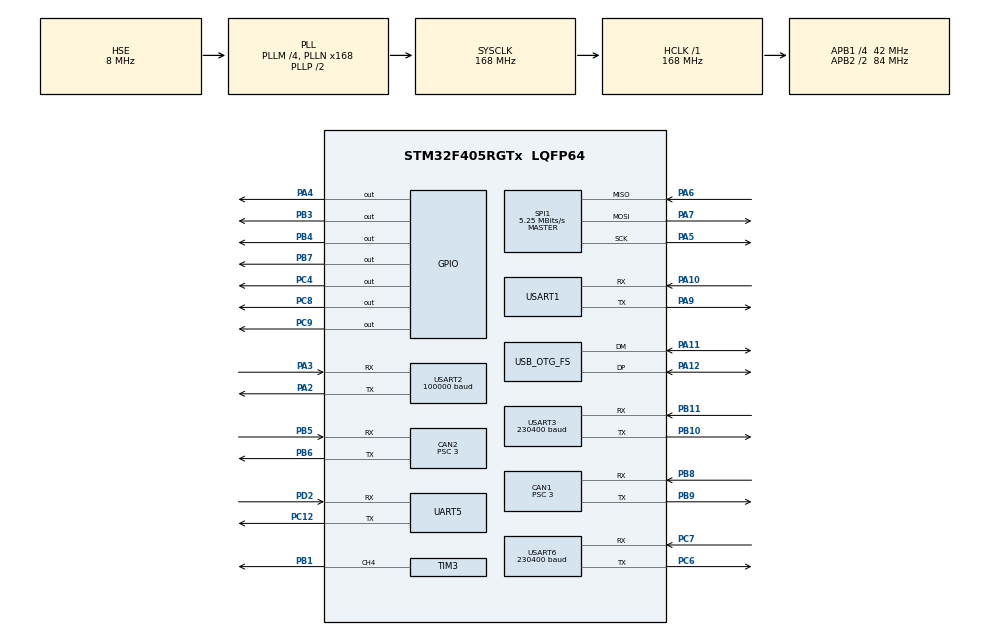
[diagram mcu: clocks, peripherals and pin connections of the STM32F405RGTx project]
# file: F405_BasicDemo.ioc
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CAN1.AWUM=ENABLE
CAN1.BS1=CAN_BS1_9TQ
CAN1.BS2=CAN_BS2_4TQ
CAN1.CalculateBaudRate=1000000
CAN1.CalculateTimeBit=1000
CAN1.CalculateTimeQuantum=71.42857142857143
CAN1.NART=ENABLE
CAN1.Prescaler=3
CAN1.TXFP=ENABLE
CAN2.AWUM=ENABLE
CAN2.BS1=CAN_BS1_9TQ
CAN2.BS2=CAN_BS2_4TQ
CAN2.CalculateBaudRate=1000000
CAN2.CalculateTimeBit=1000
CAN2.CalculateTimeQuantum=71.42857142857143
CAN2.NART=ENABLE
CAN2.Prescaler=3
CAN2.TXFP=ENABLE
Dma.Request0=UART5_RX
Dma.Request1=UART5_TX
Dma.Request2=USART1_RX
Dma.Request3=USART1_TX
Dma.Request4=USART2_RX
Dma.Request5=USART6_RX
Dma.Request6=USART6_TX
Dma.UART5_RX.0.Direction=DMA_PERIPH_TO_MEMORY
Dma.UART5_RX.0.FIFOMode=DMA_FIFOMODE_DISABLE
Dma.UART5_RX.0.Instance=DMA1_Stream0
Dma.UART5_RX.0.MemDataAlignment=DMA_MDATAALIGN_BYTE
Dma.UART5_RX.0.MemInc=DMA_MINC_ENABLE
Dma.UART5_RX.0.Mode=DMA_NORMAL
Dma.UART5_RX.0.PeriphDataAlignment=DMA_PDATAALIGN_BYTE
Dma.UART5_RX.0.PeriphInc=DMA_PINC_DISABLE
Dma.UART5_RX.0.Priority=DMA_PRIORITY_HIGH
Dma.UART5_TX.1.Direction=DMA_MEMORY_TO_PERIPH
Dma.UART5_TX.1.FIFOMode=DMA_FIFOMODE_DISABLE
Dma.UART5_TX.1.Instance=DMA1_Stream7
Dma.UART5_TX.1.MemDataAlignment=DMA_MDATAALIGN_BYTE
Dma.UART5_TX.1.MemInc=DMA_MINC_ENABLE
Dma.UART5_TX.1.Mode=DMA_NORMAL
Dma.UART5_TX.1.PeriphDataAlignment=DMA_PDATAALIGN_BYTE
Dma.UART5_TX.1.PeriphInc=DMA_PINC_DISABLE
Dma.UART5_TX.1.Priority=DMA_PRIORITY_HIGH
Dma.USART1_RX.2.Direction=DMA_PERIPH_TO_MEMORY
Dma.USART1_RX.2.FIFOMode=DMA_FIFOMODE_DISABLE
Dma.USART1_RX.2.Instance=DMA2_Stream2
Dma.USART1_RX.2.MemDataAlignment=DMA_MDATAALIGN_BYTE
Dma.USART1_RX.2.MemInc=DMA_MINC_ENABLE
Dma.USART1_RX.2.Mode=DMA_NORMAL
Dma.USART1_RX.2.PeriphDataAlignment=DMA_PDATAALIGN_BYTE
Dma.USART1_RX.2.PeriphInc=DMA_PINC_DISABLE
Dma.USART1_RX.2.Priority=DMA_PRIORITY_HIGH
Dma.USART1_TX.3.Direction=DMA_MEMORY_TO_PERIPH
Dma.USART1_TX.3.FIFOMode=DMA_FIFOMODE_DISABLE
Dma.USART1_TX.3.Instance=DMA2_Stream7
Dma.USART1_TX.3.MemDataAlignment=DMA_MDATAALIGN_BYTE
Dma.USART1_TX.3.MemInc=DMA_MINC_ENABLE
Dma.USART1_TX.3.Mode=DMA_NORMAL
Dma.USART1_TX.3.PeriphDataAlignment=DMA_PDATAALIGN_BYTE
Dma.USART1_TX.3.PeriphInc=DMA_PINC_DISABLE
Dma.USART1_TX.3.Priority=DMA_PRIORITY_HIGH
Dma.USART2_RX.4.Direction=DMA_PERIPH_TO_MEMORY
Dma.USART2_RX.4.FIFOMode=DMA_FIFOMODE_DISABLE
Dma.USART2_RX.4.Instance=DMA1_Stream5
Dma.USART2_RX.4.MemDataAlignment=DMA_MDATAALIGN_BYTE
Dma.USART2_RX.4.MemInc=DMA_MINC_ENABLE
Dma.USART2_RX.4.Mode=DMA_NORMAL
Dma.USART2_RX.4.PeriphDataAlignment=DMA_PDATAALIGN_BYTE
Dma.USART2_RX.4.PeriphInc=DMA_PINC_DISABLE
Dma.USART2_RX.4.Priority=DMA_PRIORITY_HIGH
Dma.USART6_RX.5.Direction=DMA_PERIPH_TO_MEMORY
Dma.USART6_RX.5.FIFOMode=DMA_FIFOMODE_DISABLE
Dma.USART6_RX.5.Instance=DMA2_Stream1
Dma.USART6_RX.5.MemDataAlignment=DMA_MDATAALIGN_BYTE
Dma.USART6_RX.5.MemInc=DMA_MINC_ENABLE
Dma.USART6_RX.5.Mode=DMA_NORMAL
Dma.USART6_RX.5.PeriphDataAlignment=DMA_PDATAALIGN_BYTE
Dma.USART6_RX.5.PeriphInc=DMA_PINC_DISABLE
Dma.USART6_RX.5.Priority=DMA_PRIORITY_LOW
Dma.USART6_TX.6.Direction=DMA_MEMORY_TO_PERIPH
Dma.USART6_TX.6.FIFOMode=DMA_FIFOMODE_DISABLE
Dma.USART6_TX.6.Instance=DMA2_Stream6
Dma.USART6_TX.6.MemDataAlignment=DMA_MDATAALIGN_BYTE
Dma.USART6_TX.6.MemInc=DMA_MINC_ENABLE
Dma.USART6_TX.6.Mode=DMA_NORMAL
Dma.USART6_TX.6.PeriphDataAlignment=DMA_PDATAALIGN_BYTE
Dma.USART6_TX.6.PeriphInc=DMA_PINC_DISABLE
Dma.USART6_TX.6.Priority=DMA_PRIORITY_LOW
FREERTOS.Tasks01=defaultTask,24,128,StartDefaultTask,Default,NULL,Dynamic,NULL,NULL;INSTask,8,1024,StartINSTask,As weak,NULL,Dynamic,NULL,NULL;MotorTask,8,256,StartMotorTask,As weak,NULL,Dynamic,NULL,NULL;RobotTask,24,1024,StartRobotTask,As weak,NULL,Dynamic,NULL,NULL;VOFATask,8,512,StartVOFATask,Default,NULL,Dynamic,NULL,NULL;RefreeTask,8,512,StartRefreeTask,As weak,NULL,Dynamic,NULL,NULL
Mcu.Family=STM32F4
Mcu.Name=STM32F405RGTx
Mcu.Package=LQFP64
NVIC.CAN1_RX0_IRQn=true\:5\:0\:false\:false\:true\:true\:true\:true\:true
NVIC.CAN1_RX1_IRQn=true\:5\:0\:false\:false\:true\:true\:true\:true\:true
NVIC.CAN2_RX0_IRQn=true\:5\:0\:false\:false\:true\:true\:true\:true\:true
NVIC.CAN2_RX1_IRQn=true\:5\:0\:false\:false\:true\:true\:true\:true\:true
NVIC.DMA1_Stream0_IRQn=true\:5\:0\:false\:false\:true\:true\:false\:true\:true
NVIC.DMA1_Stream5_IRQn=true\:5\:0\:false\:false\:true\:true\:false\:true\:true
NVIC.DMA1_Stream7_IRQn=true\:5\:0\:false\:false\:true\:true\:false\:true\:true
NVIC.DMA2_Stream1_IRQn=true\:5\:0\:false\:false\:true\:true\:false\:true\:true
NVIC.DMA2_Stream2_IRQn=true\:5\:0\:false\:false\:true\:true\:false\:true\:true
NVIC.DMA2_Stream6_IRQn=true\:5\:0\:false\:false\:true\:true\:false\:true\:true
NVIC.DMA2_Stream7_IRQn=true\:5\:0\:false\:false\:true\:true\:false\:true\:true
NVIC.OTG_FS_IRQn=true\:5\:0\:false\:false\:true\:true\:true\:true\:true
NVIC.PriorityGroup=NVIC_PRIORITYGROUP_4
NVIC.TIM6_DAC_IRQn=true\:15\:0\:false\:false\:true\:false\:false\:true\:true
NVIC.TimeBase=TIM6_DAC_IRQn
NVIC.TimeBaseIP=TIM6
NVIC.UART5_IRQn=true\:5\:0\:false\:false\:true\:true\:false\:true\:true
NVIC.USART1_IRQn=true\:5\:0\:false\:false\:true\:true\:false\:true\:true
NVIC.USART2_IRQn=true\:5\:0\:false\:false\:true\:true\:true\:true\:true
NVIC.USART3_IRQn=true\:5\:0\:false\:false\:true\:true\:true\:true\:true
NVIC.USART6_IRQn=true\:5\:0\:false\:false\:true\:true\:false\:true\:true
PA10.Mode=Asynchronous
PA10.Signal=USART1_RX
PA11.Mode=Device_Only
PA11.Signal=USB_OTG_FS_DM
PA12.Mode=Device_Only
PA12.Signal=USB_OTG_FS_DP
PA13.Mode=Serial_Wire
PA13.Signal=SYS_JTMS-SWDIO
PA14.Mode=Serial_Wire
PA14.Signal=SYS_JTCK-SWCLK
PA2.Mode=Asynchronous
PA2.Signal=USART2_TX
PA3.Mode=Asynchronous
PA3.Signal=USART2_RX
PA4.GPIO_Speed=GPIO_SPEED_FREQ_VERY_HIGH
PA4.PinState=GPIO_PIN_SET
PA4.Signal=GPIO_Output
PA5.Mode=Full_Duplex_Master
PA5.Signal=SPI1_SCK
PA6.Mode=Full_Duplex_Master
PA6.Signal=SPI1_MISO
PA7.Mode=Full_Duplex_Master
PA7.Signal=SPI1_MOSI
PA9.Mode=Asynchronous
PA9.Signal=USART1_TX
PB1.Signal=S_TIM3_CH4
PB10.Mode=Asynchronous
PB10.Signal=USART3_TX
PB11.Mode=Asynchronous
PB11.Signal=USART3_RX
PB3.GPIO_Speed=GPIO_SPEED_FREQ_MEDIUM
PB3.Signal=GPIO_Output
PB4.GPIO_Speed=GPIO_SPEED_FREQ_MEDIUM
PB4.Signal=GPIO_Output
PB5.Mode=CAN_Activate
PB5.Signal=CAN2_RX
PB6.Mode=CAN_Activate
PB6.Signal=CAN2_TX
PB7.GPIO_Speed=GPIO_SPEED_FREQ_MEDIUM
PB7.Signal=GPIO_Output
PB8.Mode=CAN_Activate
PB8.Signal=CAN1_RX
PB9.Mode=CAN_Activate
PB9.Signal=CAN1_TX
PC12.Mode=Asynchronous
PC12.Signal=UART5_TX
PC14-OSC32_IN.Mode=LSE-External-Oscillator
PC14-OSC32_IN.Signal=RCC_OSC32_IN
PC15-OSC32_OUT.Mode=LSE-External-Oscillator
PC15-OSC32_OUT.Signal=RCC_OSC32_OUT
PC4.GPIO_Speed=GPIO_SPEED_FREQ_VERY_HIGH
PC4.PinState=GPIO_PIN_SET
PC4.Signal=GPIO_Output
PC6.Mode=Asynchronous
PC6.Signal=USART6_TX
PC7.Mode=Asynchronous
PC7.Signal=USART6_RX
PC8.GPIO_Speed=GPIO_SPEED_FREQ_MEDIUM
PC8.PinState=GPIO_PIN_SET
PC8.Signal=GPIO_Output
PC9.GPIO_Speed=GPIO_SPEED_FREQ_MEDIUM
PC9.PinState=GPIO_PIN_SET
PC9.Signal=GPIO_Output
PD2.Mode=Asynchronous
PD2.Signal=UART5_RX
PH0-OSC_IN.Mode=HSE-External-Oscillator
PH0-OSC_IN.Signal=RCC_OSC_IN
PH1-OSC_OUT.Mode=HSE-External-Oscillator
PH1-OSC_OUT.Signal=RCC_OSC_OUT
ProjectManager.HeapSize=0x4000
ProjectManager.StackSize=0x2100
ProjectManager.TargetToolchain=CMake
RCC.48MHZClocksFreq_Value=48000000
RCC.AHBFreq_Value=168000000
RCC.APB1CLKDivider=RCC_HCLK_DIV4
RCC.APB1Freq_Value=42000000
RCC.APB1TimFreq_Value=84000000
RCC.APB2CLKDivider=RCC_HCLK_DIV2
RCC.APB2Freq_Value=84000000
RCC.APB2TimFreq_Value=168000000
RCC.CortexFreq_Value=168000000
RCC.HCLKFreq_Value=168000000
RCC.HSE_VALUE=8000000
RCC.HSI_VALUE=16000000
RCC.PLLM=4
RCC.PLLN=168
RCC.PLLQ=7
RCC.SYSCLKFreq_VALUE=168000000
RCC.SYSCLKSource=RCC_SYSCLKSOURCE_PLLCLK
RCC.VCOOutputFreq_Value=336000000
SH.S_TIM3_CH4.0=TIM3_CH4,PWM Generation4 CH4
SPI1.BaudRatePrescaler=SPI_BAUDRATEPRESCALER_16
SPI1.CalculateBaudRate=5.25 MBits/s
SPI1.Direction=SPI_DIRECTION_2LINES
SPI1.Mode=SPI_MODE_MASTER
SPI1.VirtualType=VM_MASTER
STMicroelectronics.X-CUBE-ALGOBUILD.1.5.0.LibraryCcDSPOoLibraryJjDSPOoLibrary=true
TIM3.Channel-PWM\ Generation4\ CH4=TIM_CHANNEL_4
TIM3.Period=4999
UART5.VirtualMode=Asynchronous
USART1.VirtualMode=VM_ASYNC
USART2.BaudRate=100000
USART2.VirtualMode=VM_ASYNC
USART2.WordLength=WORDLENGTH_9B
USART3.BaudRate=230400
USART3.VirtualMode=VM_ASYNC
USART6.BaudRate=230400
USART6.VirtualMode=VM_ASYNC
USB_DEVICE.CLASS_NAME_FS=CDC
USB_DEVICE.VirtualMode-CDC_FS=Cdc
USB_DEVICE.VirtualModeFS=Cdc_FS
USB_OTG_FS.VirtualMode=Device_Only
VP_CRC_VS_CRC.Mode=CRC_Activate
VP_FREERTOS_VS_CMSIS_V2.Mode=CMSIS_V2
VP_RNG_VS_RNG.Mode=RNG_Activate
VP_STMicroelectronics.X-CUBE-ALGOBUILD_VS_DSPOoLibraryJjLibrary_1.5.0_1.5.0.Mode=DSPOoLibraryJjLibrary
VP_SYS_VS_tim6.Mode=TIM6
VP_TIM3_VS_ClockSourceINT.Mode=Internal
VP_USB_DEVICE_VS_USB_DEVICE_CDC_FS.Mode=CDC_FS
board=custom

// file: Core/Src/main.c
/* USER CODE BEGIN Header */
/**
  ******************************************************************************
  * @file           : main.c
  * @brief          : Main program body
  ******************************************************************************
  * @attention
  *
  * Copyright (c) 2026 STMicroelectronics.
  * All rights reserved.
  *
  * This software is licensed under terms that can be found in the LICENSE file
  * in the root directory of this software component.
  * If no LICENSE file comes with this software, it is provided AS-IS.
  *
  ******************************************************************************
  */
/* USER CODE END Header */
#include "main.h"
#include "cmsis_os.h"
#include "can.h"
#include "crc.h"
#include "dma.h"
#include "rng.h"
#include "spi.h"
#include "tim.h"
#include "usart.h"
#include "usb_device.h"
#include "gpio.h"

/* USER CODE BEGIN Includes */
#include "robot.h"
/* USER CODE END Includes */

void SystemClock_Config(void);
void MX_FREERTOS_Init(void);

int main(void)
{

  /* MCU Configuration--------------------------------------------------------*/

  /* Reset of all peripherals, Initializes the Flash interface and the Systick. */
  HAL_Init();

  /* Configure the system clock */
  SystemClock_Config();

  /* Initialize all configured peripherals */
  MX_GPIO_Init();
  MX_DMA_Init();
  MX_CAN1_Init();
  MX_CAN2_Init();
  MX_SPI1_Init();
  MX_TIM3_Init();
  MX_UART5_Init();
  MX_USART1_UART_Init();
  MX_USART2_UART_Init();
  MX_USART3_UART_Init();
  MX_USART6_UART_Init();
  MX_CRC_Init();
  MX_RNG_Init();
  /* USER CODE BEGIN 2 */
  RobotInit();
  /* USER CODE END 2 */

  /* Init scheduler */
  osKernelInitialize();  /* Call init function for freertos objects (in cmsis_os2.c) */
  MX_FREERTOS_Init();

  /* Start scheduler */
  osKernelStart();

  /* We should never get here as control is now taken by the scheduler */

  /* Infinite loop */
  while (1)
  {

  }
}

void SystemClock_Config(void)
{
  RCC_OscInitTypeDef RCC_OscInitStruct = {0};
  RCC_ClkInitTypeDef RCC_ClkInitStruct = {0};

  /** Configure the main internal regulator output voltage
  */
  __HAL_RCC_PWR_CLK_ENABLE();
  __HAL_PWR_VOLTAGESCALING_CONFIG(PWR_REGULATOR_VOLTAGE_SCALE1);

  /** Initializes the RCC Oscillators according to the specified parameters
  * in the RCC_OscInitTypeDef structure.
  */
  RCC_OscInitStruct.OscillatorType = RCC_OSCILLATORTYPE_HSE;
  RCC_OscInitStruct.HSEState = RCC_HSE_ON;
  RCC_OscInitStruct.PLL.PLLState = RCC_PLL_ON;
  RCC_OscInitStruct.PLL.PLLSource = RCC_PLLSOURCE_HSE;
  RCC_OscInitStruct.PLL.PLLM = 4;
  RCC_OscInitStruct.PLL.PLLN = 168;
  RCC_OscInitStruct.PLL.PLLP = RCC_PLLP_DIV2;
  RCC_OscInitStruct.PLL.PLLQ = 7;
  if (HAL_RCC_OscConfig(&RCC_OscInitStruct) != HAL_OK)
  {
    Error_Handler();
  }

  /** Initializes the CPU, AHB and APB buses clocks
  */
  RCC_ClkInitStruct.ClockType = RCC_CLOCKTYPE_HCLK|RCC_CLOCKTYPE_SYSCLK
                              |RCC_CLOCKTYPE_PCLK1|RCC_CLOCKTYPE_PCLK2;
  RCC_ClkInitStruct.SYSCLKSource = RCC_SYSCLKSOURCE_PLLCLK;
  RCC_ClkInitStruct.AHBCLKDivider = RCC_SYSCLK_DIV1;
  RCC_ClkInitStruct.APB1CLKDivider = RCC_HCLK_DIV4;
  RCC_ClkInitStruct.APB2CLKDivider = RCC_HCLK_DIV2;

  if (HAL_RCC_ClockConfig(&RCC_ClkInitStruct, FLASH_LATENCY_5) != HAL_OK)
  {
    Error_Handler();
  }
}

void HAL_TIM_PeriodElapsedCallback(TIM_HandleTypeDef *htim)
{
  if (htim->Instance == TIM6)
  {
    HAL_IncTick();
  }
}

void Error_Handler(void)
{
  __disable_irq();
  while (1)
  {
  }
}

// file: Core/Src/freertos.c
/* USER CODE BEGIN Header */
/**
  ******************************************************************************
  * File Name          : freertos.c
  * Description        : Code for freertos applications
  ******************************************************************************
  * @attention
  *
  * Copyright (c) 2026 STMicroelectronics.
  * All rights reserved.
  *
  * This software is licensed under terms that can be found in the LICENSE file
  * in the root directory of this software component.
  * If no LICENSE file comes with this software, it is provided AS-IS.
  *
  ******************************************************************************
  */
/* USER CODE END Header */

#include "FreeRTOS.h"
#include "task.h"
#include "main.h"
#include "cmsis_os.h"

/* USER CODE BEGIN Includes */
#include "controller.h"
#include "robot.h"
#include "stdio.h"
#include "string.h"
#include "usart.h"
#include "dma.h"
#include "SMC.h"
#include "robot_def.h"
#include "DMmotor.h"
#include "DJImotor.h"
/* USER CODE END Includes */

/* USER CODE BEGIN Variables */
#ifdef CHASSIS_BOARD
// extern Chassis_Upload_Data_s chassis_feedback_data __attribute__((aligned(4)));
// extern float chassis_vx, chassis_vy,chassis_vw;
#endif
#ifdef GIMBAL_BOARD
extern DMMotorInstance   *yaw_motor, *big_pitch_motor, *small_pitch_motor;
extern DJIMotorInstance *friction_l, *friction_r, *loader;
extern SMC loader_pos_smc;
extern SMC loader_vel_smc;
#endif
/* USER CODE END Variables */
/* Definitions for defaultTask */
osThreadId_t defaultTaskHandle;
const osThreadAttr_t defaultTask_attributes = {
  .name = "defaultTask",
  .stack_size = 128 * 4,
  .priority = (osPriority_t) osPriorityNormal,
};
/* Definitions for INSTask */
osThreadId_t INSTaskHandle;
const osThreadAttr_t INSTask_attributes = {
  .name = "INSTask",
  .stack_size = 1024 * 4,
  .priority = (osPriority_t) osPriorityLow,
};
/* Definitions for MotorTask */
osThreadId_t MotorTaskHandle;
const osThreadAttr_t MotorTask_attributes = {
  .name = "MotorTask",
  .stack_size = 256 * 4,
  .priority = (osPriority_t) osPriorityLow,
};
/* Definitions for RobotTask */
osThreadId_t RobotTaskHandle;
const osThreadAttr_t RobotTask_attributes = {
  .name = "RobotTask",
  .stack_size = 1024 * 4,
  .priority = (osPriority_t) osPriorityNormal,
};
/* Definitions for VOFATask */
osThreadId_t VOFATaskHandle;
const osThreadAttr_t VOFATask_attributes = {
  .name = "VOFATask",
  .stack_size = 512 * 4,
  .priority = (osPriority_t) osPriorityLow,
};
/* Definitions for RefreeTask */
osThreadId_t RefreeTaskHandle;
const osThreadAttr_t RefreeTask_attributes = {
  .name = "RefreeTask",
  .stack_size = 512 * 4,
  .priority = (osPriority_t) osPriorityLow,
};

void StartDefaultTask(void *argument);
void StartINSTask(void *argument);
void StartMotorTask(void *argument);
void StartRobotTask(void *argument);
void StartVOFATask(void *argument);
void StartRefreeTask(void *argument);

extern void MX_USB_DEVICE_Init(void);
void MX_FREERTOS_Init(void); /* (MISRA C 2004 rule 8.1) */

void MX_FREERTOS_Init(void) {

  /* Create the thread(s) */
  /* creation of defaultTask */
  defaultTaskHandle = osThreadNew(StartDefaultTask, NULL, &defaultTask_attributes);

  /* creation of INSTask */
  INSTaskHandle = osThreadNew(StartINSTask, NULL, &INSTask_attributes);

  /* creation of MotorTask */
  MotorTaskHandle = osThreadNew(StartMotorTask, NULL, &MotorTask_attributes);

  /* creation of RobotTask */
  RobotTaskHandle = osThreadNew(StartRobotTask, NULL, &RobotTask_attributes);

  /* creation of VOFATask */
  VOFATaskHandle = osThreadNew(StartVOFATask, NULL, &VOFATask_attributes);

  /* creation of RefreeTask */
  RefreeTaskHandle = osThreadNew(StartRefreeTask, NULL, &RefreeTask_attributes);

}

void StartDefaultTask(void *argument)
{
  /* init code for USB_DEVICE */
  MX_USB_DEVICE_Init();
  for(;;)
  {
    osDelay(1);
  }
}

__weak void StartINSTask(void *argument)
{
  for(;;)
  {
    osDelay(1);
  }
}

__weak void StartMotorTask(void *argument)
{
  for(;;)
  {
    osDelay(1);
  }
}

__weak void StartRobotTask(void *argument)
{
  for(;;)
  {
    osDelay(1);
  }
}

void StartVOFATask(void *argument)
{
  /* USER CODE BEGIN StartVOFATask */
  /* Infinite loop */
  for(;;)
  {
    #ifdef CHASSIS_BOARD
    // static char buff[150];
		// sprintf(buff,"0.0,%f\r\n",chassis_feedback_data.real_wz);
		// HAL_UART_Transmit_DMA(&huart5,(uint8_t *)buff,strlen(buff));
    #endif
    #ifdef GIMBAL_BOARD
    // if (HAL_UART_GetState(&huart5) == HAL_UART_STATE_READY)
    // {
    //     static char buff[150];
    //     int len = sprintf(buff, "%f,%f,%f,%f\r\n",loader->motor_controller.angle_PID.Ref,
    //       loader->motor_controller.angle_PID.Measure,
    //       loader->motor_controller.speed_PID.Ref,
    //       loader->motor_controller.speed_PID.Measure);
    //     HAL_UART_Transmit_DMA(&huart5, (uint8_t*)buff, len);
    // }
    if (HAL_UART_GetState(&huart5) == HAL_UART_STATE_READY)
    {
        static char buff[150];
        int len = sprintf(buff, "%f,%f,%f,%f\r\n",loader_pos_smc.error.target_current,
          loader_pos_smc.error.position_current,
          loader_vel_smc.error.target_current,
          loader_vel_smc.error.velocity_current);
        HAL_UART_Transmit_DMA(&huart5, (uint8_t*)buff, len);
    }
    #endif
    osDelay(1);
  }
  /* USER CODE END StartVOFATask */
}

__weak void StartRefreeTask(void *argument)
{
  for(;;)
  {
    osDelay(1);
  }
}
